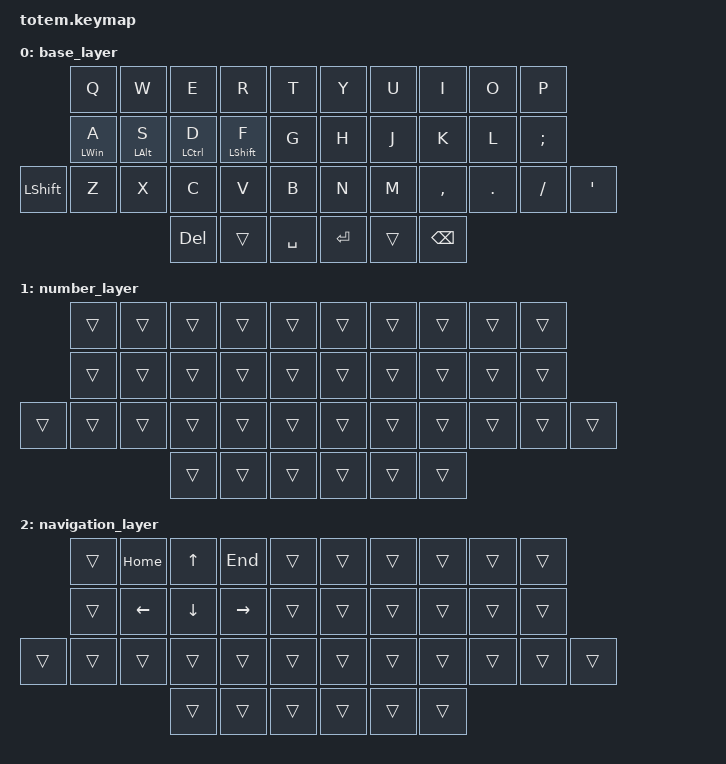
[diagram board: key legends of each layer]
//
//                                                        ▀▀▀▀▀     ▀▀▀▀▀          ▀▀█▀▀
//                                                        ▄▀▀▀▄  ▄  ▄▀▀▀▄  ▄  ▄▀▀▀▄  █  ▄▀▀▀▄
//                                                        █   █  █  █   █  █  █   █  █  █   █
//                                                         ▀▀▀   █   ▀▀▀   █   ▀▀▀   ▀   ▀▀▀
//                                                               █      ▄▄▄█▄▄▄    █   █  
//                                                               ▀      █  █  █     █▄█
//                                                             ▀▀▀▀▀    █  █  █      ▀
//                                                                      ▀  ▀  ▀
//
// ▄▄▄▄▄▄▄▄▄▄▄▄▄▄▄▄▄▄▄▄▄▄▄▄▄▄▄▄▄▄▄▄▄▄▄▄▄▄▄▄▄▄▄▄▄▄▄▄▄▄▄▄▄▄▄▄▄▄▄▄▄▄▄▄▄▄▄▄▄▄▄▄▄▄▄▄▄▄▄▄▄▄▄▄▄▄▄▄▄▄▄▄▄▄▄▄▄▄▄▄▄▄▄▄▄▄▄▄▄▄▄▄▄▄▄▄▄▄▄▄▄▄▄▄▄▄▄▄▄▄▄▄▄▄▄▄▄▄▄▄▄▄▄▄▄▄▄▄▄

#include <behaviors.dtsi>
#include <dt-bindings/zmk/keys.h>

#define BASE 0
#define NAV  1
#define SYM  2
#define ADJ  3
#define TVP1 4
#define TVP2 5

&mt {
    quick-tap-ms = <100>;
    global-quick-tap;
    flavor = "tap-preferred";
    tapping-term-ms = <170>;
    retro-tap;
};

/ {
    combos {
        compatible = "zmk,combos";

        combo_esc {
            timeout-ms = <50>;
            key-positions = <0 1>;
            bindings = <&kp ESC>;
        };

        combo_tvp {
            timeout-ms = <100>;
            key-positions = <11 12 13>;
            bindings = <&tog 0>;
        };
    };

    keymap {
        compatible = "zmk,keymap";

        // ▄▄▄▄▄▄▄▄▄▄▄▄▄▄▄▄▄▄▄▄▄▄▄▄▄▄▄▄▄▄▄▄▄▄▄▄▄▄▄▄▄▄▄▄▄▄▄▄▄▄▄▄▄▄▄▄▄▄▄▄▄▄▄▄▄▄▄▄▄▄▄▄▄▄▄▄▄▄▄▄▄▄▄▄▄▄▄▄▄▄▄▄▄▄▄▄▄▄▄▄▄▄▄▄▄▄▄▄▄▄▄▄▄▄▄▄▄▄▄▄▄▄▄▄▄▄▄▄▄▄▄▄▄▄▄▄▄▄▄▄▄▄▄▄▄▄▄▄▄
        // ▄▄▄▄▄▄▄▄▄▄▄▄▄▄▄▄▄▄▄▄▄▄▄▄▄▄▄▄▄▄▄▄▄▄▄▄▄▄▄▄▄▄▄▄▄▄▄▄▄▄▄▄▄▄▄▄▄▄▄▄▄▄▄▄▄▄▄▄▄▄▄▄▄▄▄▄▄▄▄▄▄▄▄▄▄▄▄▄▄▄▄▄▄▄▄▄▄▄▄▄▄▄▄▄▄▄▄▄▄▄▄▄▄▄▄▄▄▄▄▄▄▄▄▄▄▄▄▄▄▄▄▄▄▄▄▄▄▄▄▄▄▄▄▄▄▄▄▄▄
        // ▄▄▄▄▄▄▄▄▄▄▄▄▄▄▄▄▄▄▄▄▄▄▄▄▄▄▄▄▄▄▄▄▄▄▄▄▄▄▄▄▄▄▄▄▄▄▄▄▄▄▄▄▄▄▄▄▄▄▄▄▄▄▄▄▄▄▄▄▄▄▄▄▄▄▄▄▄▄▄▄▄▄▄▄▄▄▄▄▄▄▄▄▄▄▄▄▄▄▄▄▄▄▄▄▄▄▄▄▄▄▄▄▄▄▄▄▄▄▄▄▄▄▄▄▄▄▄▄▄▄▄▄▄▄▄▄▄▄▄▄▄▄▄▄▄▄▄▄▄
        // ▄▄▄▄▄▄▄▄▄▄▄▄▄▄▄▄▄▄▄▄▄▄▄▄▄▄▄▄▄▄▄▄▄▄▄▄▄▄▄▄▄▄▄▄▄▄▄▄▄▄▄▄▄▄▄▄▄▄▄▄▄▄▄▄▄▄▄▄▄▄▄▄▄▄▄▄▄▄▄▄▄▄▄▄▄▄▄▄▄▄▄▄▄▄▄▄▄▄▄▄▄▄▄▄▄▄▄▄▄▄▄▄▄▄▄▄▄▄▄▄▄▄▄▄▄▄▄▄▄▄▄▄▄▄▄▄▄▄▄▄▄▄▄▄▄▄▄▄▄

        base_layer {
            bindings = <
            &kp Q           &kp W           &kp E        &kp R             &kp T        &kp Y      &kp U   &kp I          &kp O    &kp P
            &mt LEFT_WIN A  &mt LEFT_ALT S  &mt LCTRL D  &mt LEFT_SHIFT F  &kp G        &kp H      &kp J   &kp K          &kp L    &kp SEMI
&kp LSHIFT  &kp Z           &kp X           &kp C        &kp V             &kp B        &kp N      &kp M   &kp COMMA      &kp DOT  &kp FSLH  &kp APOS
                                            &kp DEL      &trans            &kp SPACE    &kp ENTER  &trans  &kp BACKSPACE
            >;
        };

        number_layer {
            bindings = <
        &trans  &trans  &trans  &trans  &trans    &trans  &trans  &trans  &trans  &trans
        &trans  &trans  &trans  &trans  &trans    &trans  &trans  &trans  &trans  &trans
&trans  &trans  &trans  &trans  &trans  &trans    &trans  &trans  &trans  &trans  &trans  &trans
                        &trans  &trans  &trans    &trans  &trans  &trans
            >;
        };

        navigation_layer {
            bindings = <
        &trans  &kp HOME  &kp UP    &kp END    &trans    &trans  &trans  &trans  &trans  &trans
        &trans  &kp LEFT  &kp DOWN  &kp RIGHT  &trans    &trans  &trans  &trans  &trans  &trans
&trans  &trans  &trans    &trans    &trans     &trans    &trans  &trans  &trans  &trans  &trans  &trans
                          &trans    &trans     &trans    &trans  &trans  &trans
            >;
        };

        // ▄▄▄▄▄▄▄▄▄▄▄▄▄▄▄▄▄▄▄▄▄▄▄▄▄▄▄▄▄▄▄▄▄▄▄▄▄▄▄▄▄▄▄▄▄▄▄▄▄▄▄▄▄▄▄▄▄▄▄▄▄▄▄▄▄▄▄▄▄▄▄▄▄▄▄▄▄▄▄▄▄▄▄▄▄▄▄▄▄▄▄▄▄▄▄▄▄▄▄▄▄▄▄▄▄▄▄▄▄▄▄▄▄▄▄▄▄▄▄▄▄▄▄▄▄▄▄▄▄▄▄▄▄▄▄▄▄▄▄▄▄▄▄▄▄▄▄▄▄
        // ▄▄▄▄▄▄▄▄▄▄▄▄▄▄▄▄▄▄▄▄▄▄▄▄▄▄▄▄▄▄▄▄▄▄▄▄▄▄▄▄▄▄▄▄▄▄▄▄▄▄▄▄▄▄▄▄▄▄▄▄▄▄▄▄▄▄▄▄▄▄▄▄▄▄▄▄▄▄▄▄▄▄▄▄▄▄▄▄▄▄▄▄▄▄▄▄▄▄▄▄▄▄▄▄▄▄▄▄▄▄▄▄▄▄▄▄▄▄▄▄▄▄▄▄▄▄▄▄▄▄▄▄▄▄▄▄▄▄▄▄▄▄▄▄▄▄▄▄▄
    };
};
